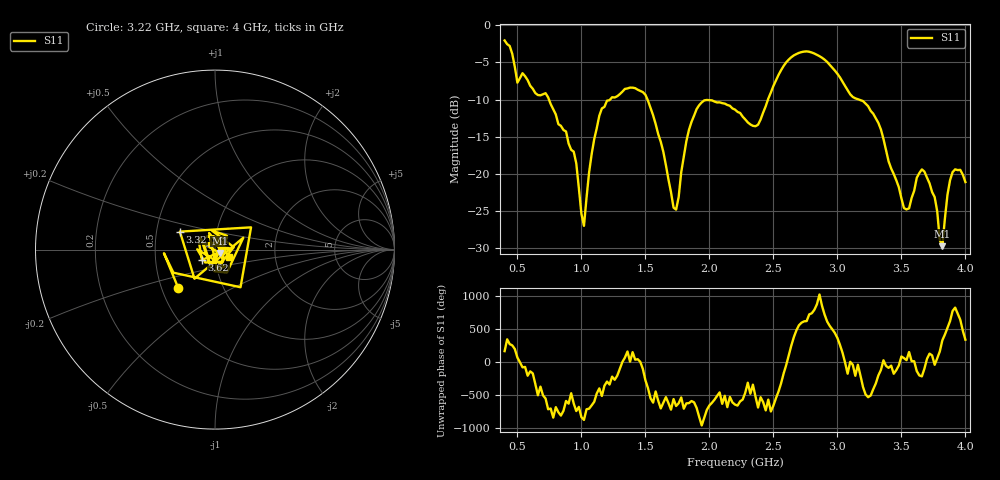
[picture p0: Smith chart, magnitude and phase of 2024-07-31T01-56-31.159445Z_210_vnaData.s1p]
!Created with skrf (http://scikit-rf.org).
# Hz S RI R 50.0
!freq ReS11 ImS11
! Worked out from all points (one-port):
!   181 points, 400 MHz to 4 GHz, reference 50 ohm
!   lowest |S11| = -29.8 dB at 3.82 GHz (marker M1), VSWR 1.07, Z = 52.7 - j1.95 ohm
!   |S11| at or under -10 dB: 746.4 MHz to 1.225 GHz (478.1 MHz wide, 48.5 % of centre); 1.516 GHz to 2.458 GHz (941.4 MHz wide, 47.4 % of centre); 3.166 GHz to end of sweep
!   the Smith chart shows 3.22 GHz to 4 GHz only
!   S11 on the Smith chart (normalised r, x): 3.22 GHz: 0.61, -0.29; 3.32 GHz: 0.66, +0.14; 3.62 GHz: 0.86, -0.10; 4 GHz: 1.17, -0.09
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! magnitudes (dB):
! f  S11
! 400 MHz  -2.0
! 500 MHz  -7.7
! 720 MHz  -9.1
! 860 MHz  -14.1
! 960 MHz  -18.6
! 1.02 GHz  -27.1
! 1.06 GHz  -19.9
! 1.14 GHz  -12.2
! 1.3 GHz  -9.3
! 1.5 GHz  -9.4
! 1.64 GHz  -17.1
! 1.72 GHz  -24.6
! 1.76 GHz  -23.2
! 1.82 GHz  -15.6
! 1.9 GHz  -11.3
! 2.2 GHz  -11.4
! 2.38 GHz  -13.4
! 2.66 GHz  -4.0
! 2.88 GHz  -4.4
! 3.1 GHz  -9.3
! 3.22 GHz  -10.6
! 3.32 GHz  -13.2
! 3.56 GHz  -24.7
! 3.62 GHz  -20.6
! 3.72 GHz  -21.3
! 3.82 GHz  -29.8
! 3.9 GHz  -19.8
! 4 GHz  -21.2
